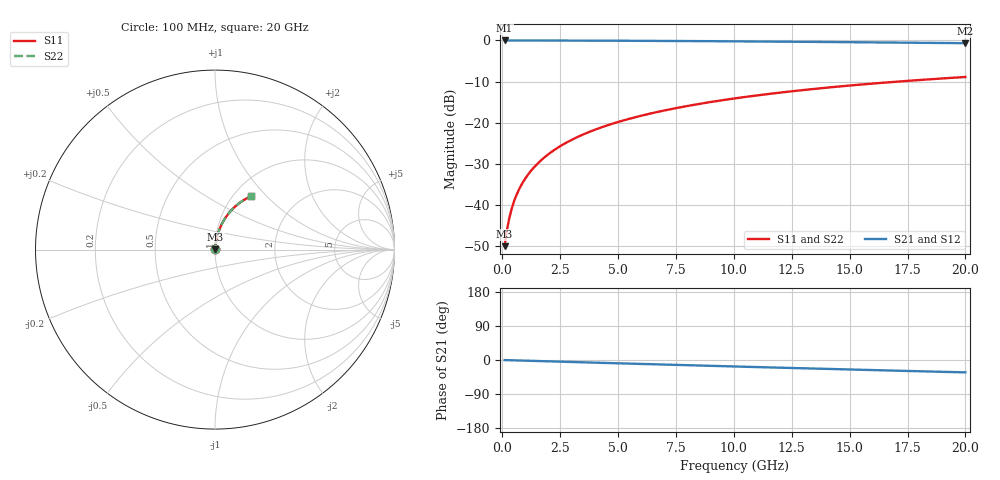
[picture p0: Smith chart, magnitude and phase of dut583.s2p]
! Touchstone file exported from HFSS 2026.1.0
!  File:  C:/ffzhzh/LocalFiles/Ansys_Project_Files/temp_train_TMRDL_583_1783008284_53980.aedt
!  Generated:  12:06:02 AM Jul  3, 2026
!  Design:  TMRDL
!  Project:  temp_train_TMRDL_583_1783008284_53980
! Variables:
!  h_bsmrdl = 2um
!  h_ox = 20um
!  h_rdl = 5um
!  h_sub = 80um
!  h_tmrdl = 4.41um
!  h_tsv = 80um
!  h_via = 3um
!  l_bsmrdl = 300um
!  l_sub = 821.74um
!  l_tmrdl = 421.74um
!  m_sub = 200um
!  pitch = 49.26um
!  r_tsv = 6um
!  s_tmrdl = 10um
!  w_bsmrdl = 18um
!  w_sub = 500um
!  w_tmrdl = 15.6um
!  x_tsv_center1 = 429.54um
!  x_tsv_center2 = 747.54um
!  x_tsv_center3 = 1184.88um
!  x_tsv_center4 = 1502.88um
!  x_tsv_center5 = 1940.22um
!  x_tsv_center6 = 2258.22um
# GHz S MA R 50.000000
! Terminal data exported
! Port[1] = TM_RDL1_1_T1
! Port[2] = TM_RDL1_1_T2
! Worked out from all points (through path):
!   200 points, 100 MHz to 20 GHz, reference 50 ohm
!   highest |S21| = -0.02 dB at 100 MHz (marker M1); lowest = -0.7 dB at 20 GHz (marker M2)
!   group delay of S21, straight-line fit = 4.54 ps
!   lowest |S11| = -50.0 dB at 100 MHz (marker M3), VSWR 1.01, Z = 50.2 + j0.219 ohm
!   |S11| at or under -10 dB: start of sweep to 17.11 GHz
!   |S22| runs from -50.0 to -8.9 dB; largest |S21 - S12| = 3.1e-15
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0.1  0.003163 43.5  0.9977 -0.2  0.9977 -0.2  0.003163 43.5
! Gamma 0 0 0 0
! Port Impedance 50 0 50 0
0.2  0.004935 61.2  0.9976 -0.4  0.9976 -0.4  0.004935 61.2
0.3  0.0069 68.9  0.9975 -0.5  0.9975 -0.5  0.0069 68.9
0.4  0.008908 73.0  0.9975 -0.7  0.9975 -0.7  0.008908 73.0
0.5  0.01093 75.6  0.9974 -0.9  0.9974 -0.9  0.01093 75.6
0.6  0.01296 77.3  0.9973 -1.1  0.9973 -1.1  0.01296 77.3
0.8  0.01703 79.5  0.9972 -1.4  0.9972 -1.4  0.01703 79.5
1.1  0.02317 81.1  0.997 -1.9  0.997 -1.9  0.02317 81.1
1.5  0.03137 82.0  0.9966 -2.6  0.9966 -2.6  0.03137 82.0
1.8  0.03753 82.2  0.9963 -3.2  0.9963 -3.2  0.03753 82.2
2.1  0.04367 82.2  0.996 -3.7  0.996 -3.7  0.04367 82.2
2.7  0.05592 81.8  0.9951 -4.7  0.9951 -4.7  0.05592 81.8
3.5  0.07212 80.9  0.9937 -6.1  0.9937 -6.1  0.07212 80.9
4.2  0.08616 79.9  0.9922 -7.3  0.9922 -7.3  0.08616 79.9
5  0.102 78.7  0.9902 -8.7  0.9902 -8.7  0.102 78.7
5.9  0.1196 77.3  0.9878 -10.2  0.9878 -10.2  0.1196 77.4
6.8  0.137 75.9  0.9851 -11.8  0.9851 -11.8  0.137 75.9
8.3  0.1653 73.6  0.9801 -14.3  0.9801 -14.3  0.1653 73.6
10.1  0.1984 70.8  0.9733 -17.2  0.9733 -17.2  0.1984 70.8
13.4  0.2562 65.7  0.9588 -22.5  0.9588 -22.5  0.2562 65.7
16.7  0.3099 60.7  0.9423 -27.7  0.9423 -27.7  0.3099 60.7
20  0.3591 55.9  0.9243 -32.7  0.9243 -32.7  0.3592 55.9
